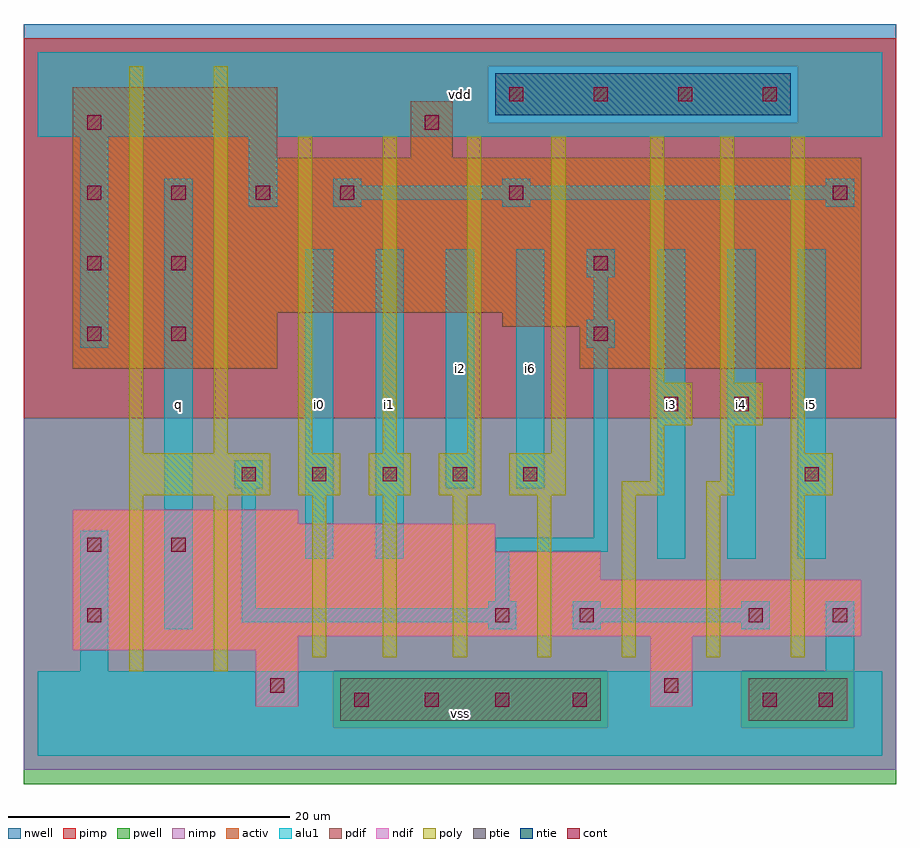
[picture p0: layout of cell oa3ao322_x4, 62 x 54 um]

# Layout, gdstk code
import gdstk
lib = gdstk.Library(unit=1e-6, precision=1e-09)
def R(c, l, rs):  # rectangles x0, y0, x1, y1
    for r in rs: c.add(gdstk.rectangle(r[:2], r[2:], *l))
def A(c, l, x, y, w, h, nx, ny, dx, dy):  # array of equal rectangles
    R(c, l, [(x+i*dx, y+j*dy, x+i*dx+w, y+j*dy+h) for i in range(nx) for j in range(ny)])
ndif = (3, 0)
pdif = (4, 0)
ntie = (5, 0)
ptie = (6, 0)
cont = (25, 0)
pwell = (41, 0)
nwell = (42, 0)
activ = (43, 0)
pimp = (44, 0)
nimp = (45, 0)
poly = (46, 0)
alu1 = (49, 0)

oa3ao322_x4 = lib.new_cell('oa3ao322_x4')
R(oa3ao322_x4, ndif, [(15.5,3.5,18.5,7.5), (43.5,3.5,46.5,8.5), (2.5,7.5,18.5,8.5), (2.5,8.5,58.5,12.5), (2.5,12.5,40,14.5), (2.5,14.5,32.5,16.5), (2.5,16.5,18.5,17.5)])
R(oa3ao322_x4, pdif, [(2.5,27.5,17,31.5), (38.5,27.5,58.5,30.5), (33,30.5,58.5,31.5), (2.5,31.5,58.5,42.5), (2.5,42.5,17,47.5), (26.5,42.5,29.5,46.5)])
R(oa3ao322_x4, ntie, [(32.5,45.5,53.5,48.5)])
R(oa3ao322_x4, ptie, [(21.5,2.5,40,5.5), (50.5,2.5,57.5,5.5)])
A(oa3ao322_x4, cont, 22.5, 3.5, 1, 1, 3, 1, 5, 0)
A(oa3ao322_x4, cont, 14.5, 19.5, 1, 1, 5, 1, 5, 0)
A(oa3ao322_x4, cont, 3.5, 39.5, 1, 1, 4, 1, 6, 0)
A(oa3ao322_x4, cont, 33.5, 46.5, 1, 1, 4, 1, 6, 0)
R(oa3ao322_x4, cont, [(38,3.5,39,4.5), (51.5,3.5,52.5,4.5), (55.5,3.5,56.5,4.5), (16.5,4.5,17.5,5.5), (44.5,4.5,45.5,5.5), (3.5,9.5,4.5,10.5), (32.5,9.5,33.5,10.5), (38.5,9.5,39.5,10.5), (50.5,9.5,51.5,10.5), (56.5,9.5,57.5,10.5), (3.5,14.5,4.5,15.5), (9.5,14.5,10.5,15.5), (54.5,19.5,55.5,20.5), (44.5,24.5,45.5,25.5), (49.5,24.5,50.5,25.5), (3.5,29.5,4.5,30.5), (9.5,29.5,10.5,30.5), (39.5,29.5,40.5,30.5), (3.5,34.5,4.5,35.5), (9.5,34.5,10.5,35.5), (39.5,34.5,40.5,35.5), (33.5,39.5,34.5,40.5), (56.5,39.5,57.5,40.5), (3.5,44.5,4.5,45.5), (27.5,44.5,28.5,45.5)])
R(oa3ao322_x4, pwell, [(-1,-2,61,24)])
R(oa3ao322_x4, nwell, [(-1,24,61,52)])
R(oa3ao322_x4, activ, [(21.5,2.5,40,5.5), (50.5,2.5,57.5,5.5), (15.5,3.5,18.5,7.5), (43.5,3.5,46.5,8.5), (2.5,7.5,18.5,8.5), (2.5,8.5,58.5,12.5), (2.5,12.5,40,14.5), (2.5,14.5,32.5,16.5), (2.5,16.5,18.5,17.5), (2.5,27.5,17,31.5), (38.5,27.5,58.5,30.5), (33,30.5,58.5,31.5), (2.5,31.5,58.5,42.5), (2.5,42.5,17,47.5), (26.5,42.5,29.5,46.5), (32.5,45.5,53.5,48.5)])
R(oa3ao322_x4, pimp, [(21,2,40.5,6), (50,2,58,6), (-1,24,61,45), (-1,45,32,49), (54,45,61,49), (-1,49,61,51)])
R(oa3ao322_x4, nimp, [(-1,-1,61,2), (-1,2,21,6), (40.5,2,50,6), (58,2,61,6), (-1,6,61,24), (32,45,54,49)])
A(oa3ao322_x4, poly, 19.5, 7, 1, 11.5, 3, 1, 5, 0)
A(oa3ao322_x4, poly, 35.5, 7, 1, 11.5, 4, 1, 6, 0)
A(oa3ao322_x4, poly, 18.5, 18.5, 3, 3, 3, 1, 5, 0)
A(oa3ao322_x4, poly, 18.5, 21.5, 1, 22.5, 4, 1, 6, 0)
R(oa3ao322_x4, poly, [(6.5,6,7.5,18.5), (12.5,6,13.5,18.5), (6.5,18.5,16.5,21.5), (33.5,18.5,37.5,21.5), (41.5,18.5,44.5,19.5), (47.5,18.5,49.5,19.5), (53.5,18.5,56.5,21.5), (43.5,19.5,44.5,23.5), (48.5,19.5,49.5,23.5), (6.5,21.5,7.5,49), (12.5,21.5,13.5,49), (53.5,21.5,54.5,44), (43.5,23.5,46.5,26.5), (48.5,23.5,51.5,26.5), (43.5,26.5,44.5,44), (48.5,26.5,49.5,44)])
A(oa3ao322_x4, alu1, 44, 14, 2, 22, 3, 1, 5, 0)
R(oa3ao322_x4, alu1, [(0,0,60,6), (3,6,5,16), (56,6,58,11), (9,9,11,41), (32,9,34,9.5), (38,9,40,9.5), (50,9,52,9.5), (14.5,9.5,34,10.5), (38,9.5,52,10.5), (14.5,10.5,15.5,19), (32,10.5,34,11), (38,10.5,40,11), (50,10.5,52,11), (32.5,11,33.5,14.5), (19,14,21,36), (24,14,26,36), (32.5,14.5,40.5,15.5), (39.5,15.5,40.5,29), (14,19,16,21), (29,19,31,36), (34,19,36,36), (3,29,5,44), (39,29,41,31), (39.5,31,40.5,34), (39,34,41,36), (15,39,17,44), (21,39,23,39.5), (33,39,35,39.5), (56,39,58,39.5), (21,39.5,58,40.5), (21,40.5,23,41), (33,40.5,35,41), (56,40.5,58,41), (0,44,60,50)])
oa3ao322_x4.add(gdstk.Label('q', (10,25), layer=49, texttype=0))
oa3ao322_x4.add(gdstk.Label('i0', (20,25), layer=49, texttype=0))
oa3ao322_x4.add(gdstk.Label('vss', (30,3), layer=49, texttype=0))
oa3ao322_x4.add(gdstk.Label('i1', (25,25), layer=49, texttype=0))
oa3ao322_x4.add(gdstk.Label('i2', (30,27.5), layer=49, texttype=0))
oa3ao322_x4.add(gdstk.Label('vdd', (30,47), layer=49, texttype=0))
oa3ao322_x4.add(gdstk.Label('i6', (35,27.5), layer=49, texttype=0))
oa3ao322_x4.add(gdstk.Label('i3', (45,25), layer=49, texttype=0))
oa3ao322_x4.add(gdstk.Label('i4', (50,25), layer=49, texttype=0))
oa3ao322_x4.add(gdstk.Label('i5', (55,25), layer=49, texttype=0))

lib.write_gds('oa3ao322_x4.gds')
